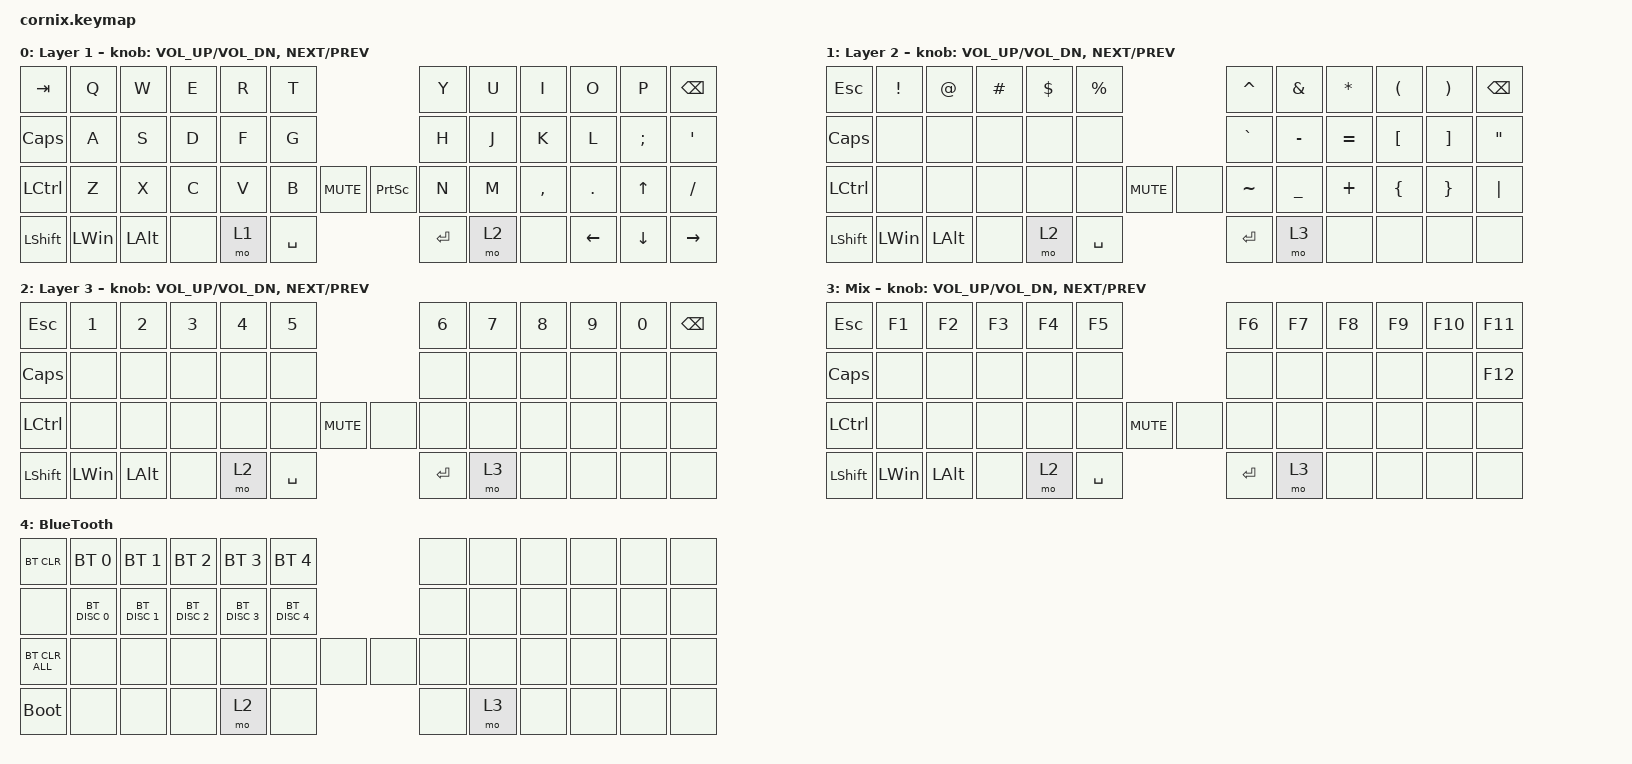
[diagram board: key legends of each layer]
/*
 * Copyright (c) 2020 The ZMK Contributors
 *
 * SPDX-License-Identifier: MIT
 */

#include "zmk-helpers/helper.h"
#include "includes/cornix54.h"

// tap windows for ctl alt and gui

#define HM_TAPPING_TERM 250
#define HM_TAPPING_REPEAT 210

// quick tapping for shift

#define HM_TAPPING_TERM_FAST 200
#define HM_PRIOR_IDLE 70
#define BASE 0
#define WIN 1
#define LOWER 2
#define RAISE 3
#define ADJUST 4
#define NAVI   5
#define NUM    6
#define DEBUG  7

// https://github.com/urob/zmk-config/tree/main#timeless-homerow-mods

#define KEYS_L LT0 LT1 LT2 LT3 LT4 LT5 LM0 LM1 LM2 LM3 LM4 LM5 LB0 LB1 LB2 LB3 LB4 LB5  // left hand
#define KEYS_R RT0 RT1 RT2 RT3 RT4 RT5 RM0 RM1 RM2 RM3 RM4 RM5 RB0 RB1 RB2 RB3 RB4 RB5  // right hand
#define THUMBS LH1 LH0 RH0 RH1
#define KEYS_T LH1 LH0 RH0 RH1
#define ZMK_POINTING_DEFAULT_SCRL_VAL 15

#include <behaviors.dtsi>
#include <dt-bindings/zmk/bt.h>
#include <dt-bindings/zmk/keys.h>

/ {
    // Activate ADJUST layer by pressing raise and lower

    behaviors {
        hm_l: homerow_mods_left {
            compatible = "zmk,behavior-hold-tap";
            #binding-cells = <2>;
            bindings = <&kp>, <&kp>;

            flavor = "balanced";
            tapping-term-ms = <HM_TAPPING_TERM>;
            quick-tap-ms = <200>;                // repeat on tap-into-hold
            require-prior-idle-ms = <HM_PRIOR_IDLE>;
            hold-trigger-key-positions = <KEYS_R KEYS_T>;
            hold-trigger-on-release;
        };

        hm_r: homerow_mods_right {
            compatible = "zmk,behavior-hold-tap";
            #binding-cells = <2>;
            bindings = <&kp>, <&kp>;

            flavor = "balanced";
            tapping-term-ms = <HM_TAPPING_TERM>;
            quick-tap-ms = <200>;
            require-prior-idle-ms = <HM_PRIOR_IDLE>;
            hold-trigger-key-positions = <KEYS_L KEYS_T>;
            hold-trigger-on-release;
        };

        // Positional Homerow mods for shift
        // Use faster tapping term and disable some features that may
        // cause false negatives.

        hm_shift_l: hm_shift_l {
            compatible = "zmk,behavior-hold-tap";
            #binding-cells = <2>;
            bindings = <&kp>, <&kp>;

            //flavor = "balanced";

            flavor = "balanced";
            tapping-term-ms = <HM_TAPPING_TERM_FAST>;
            quick-tap-ms = <200>;
            require-prior-idle-ms = <HM_PRIOR_IDLE>;
            hold-trigger-key-positions = <KEYS_R KEYS_T>;
            hold-trigger-on-release;
        };

        hm_shift_r: hm_shift_r {
            compatible = "zmk,behavior-hold-tap";
            #binding-cells = <2>;
            bindings = <&kp>, <&kp>;

            flavor = "balanced";
            tapping-term-ms = <HM_TAPPING_TERM_FAST>;
            quick-tap-ms = <200>;
            require-prior-idle-ms = <HM_PRIOR_IDLE>;
            hold-trigger-key-positions = <KEYS_L KEYS_T>;

            // for quick tapping; shift+~

            hold-trigger-on-release;
        };

        /*
         * Non-Positional Homerow Mods
         * Used for &mm_grescm_gui behavior on left hand.
         *
         * Usage: &hm LSHFT T
         * Tap: T
         * Tap-Tap-Hold: Repeat T
         * Hold: LSHIFT
         */

        hm: homerow_mods {
            compatible = "zmk,behavior-hold-tap";
            #binding-cells = <2>;
            bindings = <&kp>, <&kp>;

            flavor = "balanced";
            tapping-term-ms = <HM_TAPPING_TERM>;
            quick-tap-ms = <200>;
        };

        lt: layer_tap {
            compatible = "zmk,behavior-hold-tap";
            #binding-cells = <2>;
            bindings = <&mo>, <&kp>;

            flavor = "hold-preferred";
            tapping-term-ms = <HM_TAPPING_TERM>;
            quick-tap-ms = <200>;
        };
    };

    combos {
        compatible = "zmk,combos";

        Layer3 {
            bindings = <&mo 3>;
            key-positions = <42 45>;
        };
    };

    keymap {
        compatible = "zmk,keymap";

        default_layer {
            display-name = "Layer 1";

            // ╭──────────────────────────────────────────────────╮                     ╭────────────────────────────────────────────────────────╮
            // |   TAB    |   Q   |   W   |   E   |   R   |  T    |                     |    Y   |   U    |    I    |   O    |    P    |  BSPC   |
            // |   CAPS   |   A   |   S   |   D   |   F   |  G    |─────────╮  ╭────────|    H   |   J    |    K    |   L    |    ;    |    '    |
            // |   CTRL   |   Z   |   X   |   C   |   V   |  B    |   MUTE  |  |   MB3  |    N   |   M    |    ,    |   .    |   UP    |    /    |
            // |   SHIFT  |  WIN  |  ALT  |───────|       | LOWER |  SPACE  |  |  ENTER |  RAISE |  CTRL  |─────────|  LEFT  |  DOWN   |  RIGHT  |
            // ╰──────────────────────────╯       ╰─────────────────────────╯  ╰──────────────────────────╯         ╰────────────────────────────╯

            bindings = <
&kp TAB         &kp Q     &kp W         &kp E  &kp R  &kp T                             &kp Y      &kp U  &kp I      &kp O     &kp P          &kp BSPC
&kp CAPS        &kp A     &kp S         &kp D  &kp F  &kp G                             &kp H      &kp J  &kp K      &kp L     &kp SEMICOLON  &kp SQT
&kp LCTRL       &kp Z     &kp X         &kp C  &kp V  &kp B      &kp K_MUTE  &kp PSCRN  &kp N      &kp M  &kp COMMA  &kp DOT   &kp UP         &kp SLASH
&kp LEFT_SHIFT  &kp LWIN  &kp LEFT_ALT  &none  &mo 1  &kp SPACE                         &kp ENTER  &mo 2  &none      &kp LEFT  &kp DOWN       &kp RIGHT
            >;

            sensor-bindings =
                <&inc_dec_kp C_VOL_UP C_VOL_DN>,
                <&inc_dec_kp C_NEXT K_PREV>;
        };

        win_layer {
            display-name = "Layer 2";

            // ╭───────────────────────────────────────────────────────────╮                       ╭────────────────────────────────────────────────────────────────────╮
            // |   ESC    |   !    |    @    |    #    |    $    |   %     |                       |      ^     |    &     |     *     |    (     |     )     |  BSPC   |
            // |   CAPS   |        |         |         |         |         |──────────╮  ╭─────────|      `     |    -     |     =     |    [     |     ]     |    "    |
            // |   CTRL   |        |         |         |         |         |    MUTE  |  |   MB3   |      ~     |    _     |     +     |    {     |     }     |    |    |
            // |   SHIFT  |  WIN   |   ALT   |─────────|         |  LOWER  |   SPACE  |  |   ENTER |    RAISE   |          |───────────|          |           |         |
            // ╰─────────────────────────────╯         ╰──────────────────────────────╯  ╰─────────────────────────────────╯           ╰────────────────────────────────╯

            bindings = <
&kp ESC         &kp EXCL      &kp AT        &kp HASH  &kp DLLR  &kp PRCNT                     &kp CARET  &kp AMPS   &kp ASTRK  &kp LPAR  &kp RPAR  &kp BSPC
&kp CAPS        &none         &none         &none     &none     &none                         &kp GRAVE  &kp MINUS  &kp EQUAL  &kp LBKT  &kp RBKT  &kp DQT
&kp LCTRL       &none         &none         &none     &none     &none      &kp K_MUTE  &none  &kp TILDE  &kp UNDER  &kp PLUS   &kp LBRC  &kp RBRC  &kp PIPE
&kp LEFT_SHIFT  &kp LEFT_WIN  &kp LEFT_ALT  &none     &mo 2     &kp SPACE                     &kp ENTER  &mo 3      &none      &none     &none     &none
            >;

            sensor-bindings =
                <&inc_dec_kp C_VOL_UP C_VOL_DN>,
                <&inc_dec_kp K_NEXT K_PREV>;
        };

        Symbol_layer {
            display-name = "Layer 3";

            // ╭───────────────────────────────────────────────────────────╮                       ╭────────────────────────────────────────────────────────────────────╮
            // |   ESC    |   1    |    2    |    3    |    4    |   5     |                       |      6     |    7     |     8     |    9     |     0     |  BSPC   |
            // |   CAPS   |        |         |         |         |         |──────────╮  ╭─────────|            |          |           |          |           |         |
            // |   CTRL   |        |         |         |         |         |    MUTE  |  |   MB3   |            |          |           |          |           |         |
            // |   SHIFT  |  WIN   |   ALT   |─────────|         |  LOWER  |   SPACE  |  |   ENTER |    RAISE   |          |───────────|          |           |         |
            // ╰─────────────────────────────╯         ╰──────────────────────────────╯  ╰─────────────────────────────────╯           ╰────────────────────────────────╯

            bindings = <
&kp ESC         &kp N1        &kp N2        &kp N3  &kp N4  &kp N5                        &kp N6     &kp N7  &kp N8  &kp N9  &kp N0  &kp BSPC
&kp CAPS        &none         &none         &none   &none   &none                         &none      &none   &none   &none   &none   &none
&kp LCTRL       &none         &none         &none   &none   &none      &kp K_MUTE  &none  &none      &none   &none   &none   &none   &none
&kp LEFT_SHIFT  &kp LEFT_WIN  &kp LEFT_ALT  &none   &mo 2   &kp SPACE                     &kp ENTER  &mo 3   &none   &none   &none   &none
            >;

            sensor-bindings =
                <&inc_dec_kp C_VOL_UP C_VOL_DN>,
                <&inc_dec_kp K_NEXT K_PREV>;
        };

        Mix_layer {
            display-name = "Mix";

            // ╭───────────────────────────────────────────────────────────╮                       ╭────────────────────────────────────────────────────────────────────╮
            // |   ESC    |   F1   |   F2    |   F3    |   F4    |   F5    |                       |     F6     |   F7     |    F8     |   F9     |    F10    |   F11   |
            // |   CAPS   |        |         |         |         |         |──────────╮  ╭─────────|            |          |           |          |           |   F12   |
            // |   CTRL   |        |         |         |         |         |    MUTE  |  |   MB3   |            |          |           |          |           |         |
            // |   SHIFT  |  WIN   |   ALT   |─────────|         |  LOWER  |   SPACE  |  |   ENTER |    RAISE   |          |───────────|          |           |         |
            // ╰─────────────────────────────╯         ╰──────────────────────────────╯  ╰─────────────────────────────────╯           ╰────────────────────────────────╯

            bindings = <
&kp ESC         &kp F1        &kp F2        &kp F3  &kp F4  &kp F5                        &kp F6     &kp F7  &kp F8  &kp F9  &kp F10  &kp F11
&kp CAPS        &none         &none         &none   &none   &none                         &none      &none   &none   &none   &none    &kp F12
&kp LCTRL       &none         &none         &none   &none   &none      &kp K_MUTE  &none  &none      &none   &none   &none   &none    &none
&kp LEFT_SHIFT  &kp LEFT_WIN  &kp LEFT_ALT  &none   &mo 2   &kp SPACE                     &kp ENTER  &mo 3   &none   &none   &none    &none
            >;

            sensor-bindings =
                <&inc_dec_kp C_VOL_UP C_VOL_DN>,
                <&inc_dec_kp K_NEXT K_PREV>;
        };

        Adjust_layer {
            display-name = "BlueTooth";

            // ╭─────────────────────────────────────────────────────────────────────────────────────────╮                       ╭────────────────────────────────────────────────────────────────────╮
            // |     BTCLR    |      BT0     |     BT1      |     BT2      |     BT3      |     BT4      |                       |            |          |           |          |           |         |
            // |              |    BT_DISC0  |   BT_DISC1   |   BT_DISC2   |   BT_DISC3   |   BT_DISC4   |──────────╮  ╭─────────|            |          |           |          |           |         |
            // |  BT_CLR_ALL  |              |              |              |              |              |          |  |         |            |          |           |          |           |         |
            // |  Bootloader  |              |              |──────────────|              |              |  LOWER   |  |  RAISE  |            |          |───────────|          |           |         |
            // ╰────────────────────────────────────────────╯              ╰────────────────────────────────────────╯  ╰─────────────────────────────────╯           ╰────────────────────────────────╯

            bindings = <
&bt BT_CLR      &bt BT_SEL 0   &bt BT_SEL 1   &bt BT_SEL 2   &bt BT_SEL 3   &bt BT_SEL 4                 &none  &none  &none  &none  &none  &none
&none           &bt BT_DISC 0  &bt BT_DISC 1  &bt BT_DISC 2  &bt BT_DISC 3  &bt BT_DISC 4                &none  &none  &none  &none  &none  &none
&bt BT_CLR_ALL  &none          &none          &none          &none          &none          &none  &none  &none  &none  &none  &none  &none  &none
&bootloader     &none          &none          &none          &mo 2          &none                        &none  &mo 3  &none  &none  &none  &none
            >;
        };
    };
};
